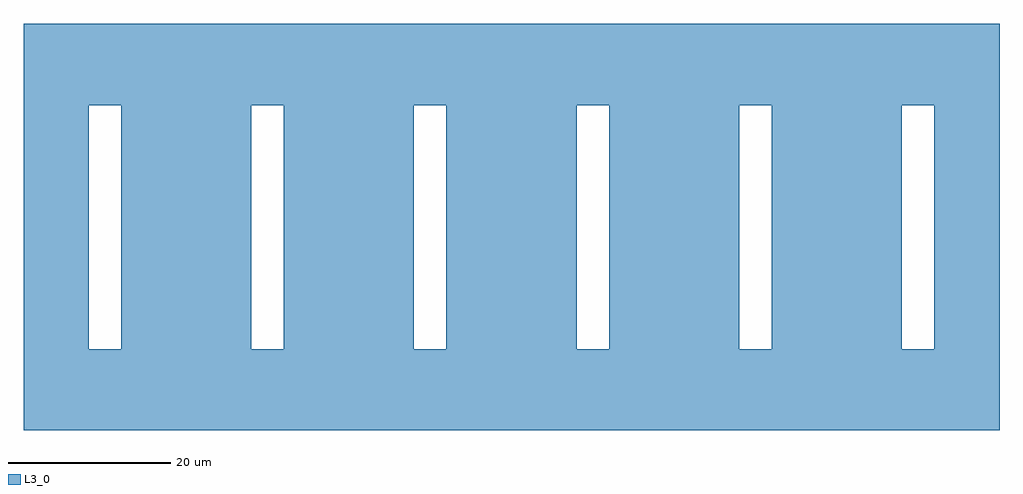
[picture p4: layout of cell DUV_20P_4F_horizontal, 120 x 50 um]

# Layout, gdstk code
import gdstk
lib = gdstk.Library(unit=1e-6, precision=1e-09)
def P(c, l, *ps):  # polygons
    for p in ps: c.add(gdstk.Polygon(p, *l))
L3_0 = (3, 0)

duv_20p_4f_horizontal_in = lib.new_cell('DUV_20P_4F_horizontal_instance')
P(duv_20p_4f_horizontal_in, L3_0, [(20,-25),(20,-15),(8,-15),(8,15),(12,15),(12,-15),(20,-15),(20,25),(0,25),(0,-25)])

duv_20p_4f_horizontal = lib.new_cell('DUV_20P_4F_horizontal')
r = gdstk.Reference(duv_20p_4f_horizontal_in, (-60,0)); r.repetition = gdstk.Repetition(6, 1, v1=(20,0), v2=(0,50)); duv_20p_4f_horizontal.add(r)

lib.write_gds('DUV_20P_4F_horizontal.gds')
